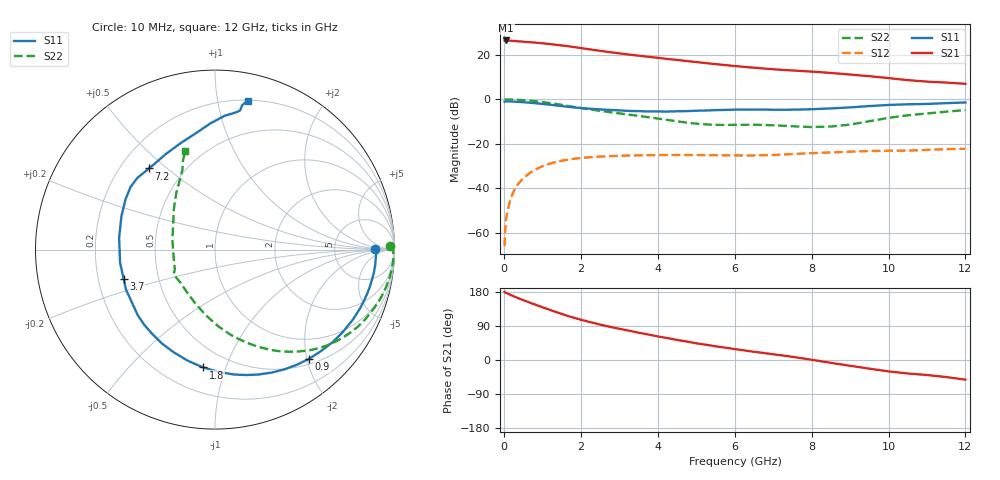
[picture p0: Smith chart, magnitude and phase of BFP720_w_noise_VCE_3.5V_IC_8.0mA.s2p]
! Infineon Technologies  Discrete & RF Semiconductors
! BFP720
! VCE =  3.5 V,  IC =  8.0 mA
! Common Emitter S-Parameters:  Aug 2012
# GHz  S  MA  R  50
!  f  S11  S21  S12  S22
! GHz  MAG  ANG  MAG  ANG  MAG  ANG  MAG  ANG
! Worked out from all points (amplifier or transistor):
!   105 points, 10 MHz to 12 GHz, reference 50 ohm
!   highest |S21| = 26.5 dB at 50 MHz (marker M1)
!   |S21| within 3 dB of that: start of sweep to 1.825 GHz
!   unconditionally stable (mu >= 1): 5.863 GHz to 11.27 GHz
!   at 300 MHz: K = 0.09, MSG = 32.9 dB, |S12| = -39.7 dB
!   at 3.6 GHz: K = 0.63, MSG = 22.3 dB, |S12| = -25.2 dB
!   at 12 GHz: K = 0.79, MSG = 14.6 dB, |S12| = -22.2 dB
!   lowest NFmin = 0.48 dB at 450 MHz
!   S11 on the Smith chart (normalised r, x): 10 MHz: 17, +0; 900 MHz: 0.60, -2.04; 1.8 GHz: 0.36, -0.84; 3.7 GHz: 0.31, -0.14; 7.2 GHz: 0.32, +0.44; 12 GHz: 0.21, +1.22
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0.01  0.8919 0.1  20.92 179.7  0.0005 -66.9  0.9771 1.1
0.02  0.899 -1.0  20.84 178.1  0.001 75.1  0.9932 -0.5
0.05  0.8969 -2.7  21.02 176.9  0.0021 81.5  0.9943 -1.7
0.25  0.8867 -13.8  20.5 168.0  0.0087 80.8  0.9853 -9.0
0.45  0.866 -24.6  19.84 159.8  0.0153 74.8  0.9629 -16.1
0.8  0.8173 -43.9  18.88 146.3  0.026 64.6  0.9071 -27.9
0.9  0.8031 -49.2  18.5 142.7  0.0288 61.9  0.8869 -31.2
1.3  0.7373 -70.7  17 128.3  0.0381 50.8  0.7969 -43.6
1.6  0.6873 -86.3  15.87 118.0  0.0432 43.6  0.7248 -51.7
1.8  0.6596 -95.7  14.99 111.9  0.0459 39.3  0.6785 -56.7
2.1  0.6243 -108.2  13.73 103.6  0.0488 33.8  0.6173 -63.2
2.4  0.6006 -119.7  12.61 95.8  0.051 29.0  0.565 -69.1
2.8  0.5753 -133.3  11.33 86.5  0.0531 23.9  0.5073 -76.2
3.7  0.5345 -162.2  9.127 68.2  0.0554 15.2  0.4008 -91.7
4.1  0.5318 -175.1  8.358 60.4  0.0559 12.1  0.3588 -100.0
5  0.5536 160.3  6.869 44.0  0.0559 6.7  0.2835 -123.7
6.1  0.5859 142.2  5.502 27.4  0.0549 3.8  0.2668 -146.2
7.2  0.5831 129.2  4.614 12.5  0.0571 4.6  0.2557 -152.1
8.5  0.6236 107.8  3.908 -7.5  0.0639 1.2  0.2441 166.7
9.5  0.7036 92.1  3.308 -22.8  0.0689 -3.2  0.3214 135.5
10.5  0.7719 81.5  2.698 -35.6  0.0705 -7.6  0.4366 116.6
12  0.8489 77.6  2.233 -51.8  0.0773 -14.6  0.5722 106.9
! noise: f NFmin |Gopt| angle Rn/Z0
0.45  0.48  0.35  2  0.16
1.8  0.54  0.32  22  0.14
2.4  0.59  0.26  45  0.25
5.5  0.73  0.14  40  0.14
10  0.95  0.39  -84  0.22
